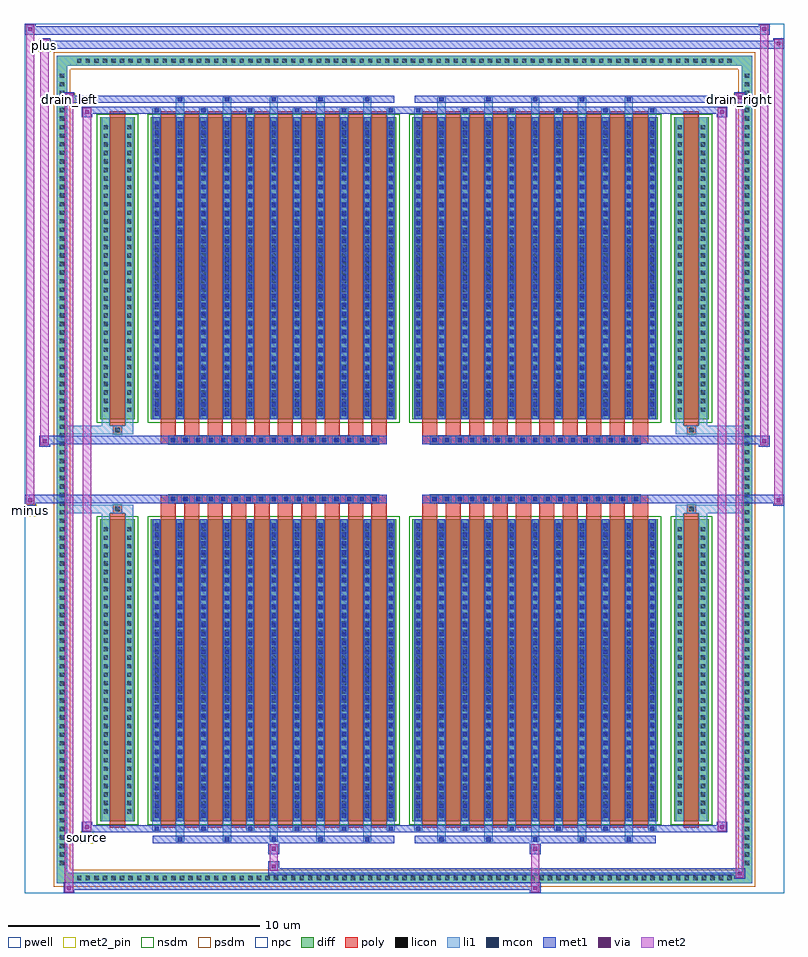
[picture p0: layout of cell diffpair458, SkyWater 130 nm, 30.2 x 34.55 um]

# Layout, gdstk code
import gdstk
lib = gdstk.Library(unit=1e-6, precision=5e-09)
def R(c, l, rs):  # rectangles x0, y0, x1, y1
    for r in rs: c.add(gdstk.rectangle(r[:2], r[2:], *l))
def A(c, l, x, y, w, h, nx, ny, dx, dy):  # array of equal rectangles
    R(c, l, [(x+i*dx, y+j*dy, x+i*dx+w, y+j*dy+h) for i in range(nx) for j in range(ny)])
def P(c, l, *ps):  # polygons
    for p in ps: c.add(gdstk.Polygon(p, *l))
pwell = (64, 44)
diff = (65, 20)
poly = (66, 20)
licon = (66, 44)
li1 = (67, 20)
mcon = (67, 44)
met1 = (68, 20)
via = (68, 44)
met2_pin = (69, 16)
met2 = (69, 20)
nsdm = (93, 44)
psdm = (94, 20)
npc = (95, 20)

diffpair458 = lib.new_cell('diffpair458')
R(diffpair458, pwell, [(-15.08,-16.84,15.08,17.71), (-12.4,-15.03,-0.01,-0.805), (0.01,-15.03,12.4,-0.805), (-12.4,0.805,-0.01,15.03), (0.01,0.805,12.4,15.03)])
A(diffpair458, diff, -13.125, -16.44, 0.41, 0.41, 77, 2, 0.34, 32.47)
A(diffpair458, diff, -13.81, -15.845, 0.41, 0.41, 1, 93, 0, 0.34)
A(diffpair458, diff, 13.4, -15.845, 0.41, 0.41, 1, 93, 0, 0.34)
R(diffpair458, diff, [(-13.125,-16.44,13.125,-16.03), (-13.81,-15.845,-13.4,15.845), (13.4,-15.845,13.81,15.845), (-12.09,-13.985,-10.71,-1.985), (-10.07,-13.985,-0.32,-1.985), (0.32,-13.985,10.07,-1.985), (10.71,-13.985,12.09,-1.985), (-12.09,1.985,-10.71,13.985), (-10.07,1.985,-0.32,13.985), (0.32,1.985,10.07,13.985), (10.71,1.985,12.09,13.985), (-13.125,16.03,13.125,16.44)])
P(diffpair458, diff, [(13.81,16.44),(-13.81,16.44),(-13.81,-16.03),(-13.4,-16.03),(-13.4,16.03),(13.4,16.03),(13.4,-16.03),(-13.4,-16.03),(-13.81,-16.03),(-13.81,-16.44),(13.81,-16.44)])
A(diffpair458, poly, -9.68, -14.235, 0.6, 12.5, 10, 2, 0.93, 15.97)
A(diffpair458, poly, 0.71, -14.235, 0.6, 12.5, 10, 2, 0.93, 15.97)
A(diffpair458, poly, -9.68, -1.735, 0.6, 0.4, 10, 2, 0.93, 3.07)
A(diffpair458, poly, 0.71, -1.735, 0.6, 0.4, 10, 2, 0.93, 3.07)
A(diffpair458, poly, -9.36, -1.335, 0.33, 0.33, 17, 2, 0.5, 2.34)
A(diffpair458, poly, 1.03, -1.335, 0.33, 0.33, 17, 2, 0.5, 2.34)
R(diffpair458, poly, [(-11.7,-14.235,-11.1,-1.735), (11.1,-14.235,11.7,-1.735), (-11.565,-1.735,-11.235,-1.405), (-11.565,-1.735,-11.235,-1.405), (11.235,-1.735,11.565,-1.405), (11.235,-1.735,11.565,-1.405), (-9.68,-1.335,-0.71,-1.005), (0.71,-1.335,9.68,-1.005), (-9.68,1.005,-0.71,1.335), (0.71,1.005,9.68,1.335), (-11.565,1.405,-11.235,1.735), (-11.565,1.405,-11.235,1.735), (11.235,1.405,11.565,1.735), (11.235,1.405,11.565,1.735), (-11.7,1.735,-11.1,14.235), (11.1,1.735,11.7,14.235)])
A(diffpair458, licon, -13.005, -16.32, 0.17, 0.17, 77, 2, 0.34, 32.47)
A(diffpair458, licon, -13.69, -15.725, 0.17, 0.17, 1, 93, 0, 0.34)
A(diffpair458, licon, 13.52, -15.725, 0.17, 0.17, 1, 93, 0, 0.34)
A(diffpair458, licon, -11.95, -13.68, 0.17, 0.17, 1, 34, 0, 0.34)
A(diffpair458, licon, -11.02, -13.68, 0.17, 0.17, 1, 34, 0, 0.34)
A(diffpair458, licon, -9.93, -13.68, 0.17, 0.17, 11, 34, 0.93, 0.34)
A(diffpair458, licon, 0.46, -13.68, 0.17, 0.17, 11, 34, 0.93, 0.34)
A(diffpair458, licon, 10.85, -13.68, 0.17, 0.17, 1, 34, 0, 0.34)
A(diffpair458, licon, 11.78, -13.68, 0.17, 0.17, 1, 34, 0, 0.34)
A(diffpair458, licon, -9.28, -1.255, 0.17, 0.17, 17, 2, 0.5, 2.34)
A(diffpair458, licon, 1.11, -1.255, 0.17, 0.17, 17, 2, 0.5, 2.34)
A(diffpair458, licon, -11.95, 2.29, 0.17, 0.17, 1, 34, 0, 0.34)
A(diffpair458, licon, -11.02, 2.29, 0.17, 0.17, 1, 34, 0, 0.34)
A(diffpair458, licon, -9.93, 2.29, 0.17, 0.17, 11, 34, 0.93, 0.34)
A(diffpair458, licon, 0.46, 2.29, 0.17, 0.17, 11, 34, 0.93, 0.34)
A(diffpair458, licon, 10.85, 2.29, 0.17, 0.17, 1, 34, 0, 0.34)
A(diffpair458, licon, 11.78, 2.29, 0.17, 0.17, 1, 34, 0, 0.34)
R(diffpair458, licon, [(-11.485,-1.655,-11.315,-1.485), (11.315,-1.655,11.485,-1.485), (-11.485,1.485,-11.315,1.655), (11.315,1.485,11.485,1.655)])
A(diffpair458, li1, -13.085, -16.4, 0.33, 0.33, 77, 2, 0.34, 32.47)
A(diffpair458, li1, -13.77, -15.805, 0.33, 0.33, 1, 93, 0, 0.34)
A(diffpair458, li1, 13.44, -15.805, 0.33, 0.33, 1, 93, 0, 0.34)
A(diffpair458, li1, -9.08, -14.79, 0.33, 0.805, 5, 2, 1.86, 28.775)
A(diffpair458, li1, -9, -14.79, 0.17, 0.17, 5, 2, 1.86, 29.41)
A(diffpair458, li1, 1.31, -14.79, 0.33, 0.805, 5, 2, 1.86, 28.775)
A(diffpair458, li1, 1.39, -14.79, 0.17, 0.17, 5, 2, 1.86, 29.41)
A(diffpair458, li1, -10.01, -14.36, 0.33, 0.375, 6, 2, 1.86, 28.345)
A(diffpair458, li1, -9.93, -14.36, 0.17, 0.17, 6, 2, 1.86, 28.55)
A(diffpair458, li1, 0.38, -14.36, 0.33, 0.375, 6, 2, 1.86, 28.345)
A(diffpair458, li1, 0.46, -14.36, 0.17, 0.17, 6, 2, 1.86, 28.55)
A(diffpair458, li1, -10.01, -13.985, 0.33, 12, 11, 2, 0.93, 15.97)
A(diffpair458, li1, 0.38, -13.985, 0.33, 12, 11, 2, 0.93, 15.97)
A(diffpair458, li1, -9.93, -13.83, 0.17, 0.17, 11, 33, 0.93, 0.36)
A(diffpair458, li1, -9.93, -13.83, 0.17, 11.69, 11, 2, 0.93, 15.97)
A(diffpair458, li1, 0.46, -13.83, 0.17, 0.17, 11, 33, 0.93, 0.36)
A(diffpair458, li1, 0.46, -13.83, 0.17, 11.69, 11, 2, 0.93, 15.97)
A(diffpair458, li1, -12.03, -13.76, 0.33, 0.33, 1, 34, 0, 0.34)
A(diffpair458, li1, -11.1, -13.76, 0.33, 0.33, 1, 34, 0, 0.34)
A(diffpair458, li1, -10.01, -13.76, 0.33, 0.33, 11, 34, 0.93, 0.34)
A(diffpair458, li1, 0.38, -13.76, 0.33, 0.33, 11, 34, 0.93, 0.34)
A(diffpair458, li1, 10.77, -13.76, 0.33, 0.33, 1, 34, 0, 0.34)
A(diffpair458, li1, 11.7, -13.76, 0.33, 0.33, 1, 34, 0, 0.34)
A(diffpair458, li1, -9.36, -1.335, 0.33, 0.33, 17, 2, 0.5, 2.34)
A(diffpair458, li1, 1.03, -1.335, 0.33, 0.33, 17, 2, 0.5, 2.34)
A(diffpair458, li1, -9.93, 2.14, 0.17, 0.17, 11, 33, 0.93, 0.36)
A(diffpair458, li1, 0.46, 2.14, 0.17, 0.17, 11, 33, 0.93, 0.36)
A(diffpair458, li1, -12.03, 2.21, 0.33, 0.33, 1, 34, 0, 0.34)
A(diffpair458, li1, -11.1, 2.21, 0.33, 0.33, 1, 34, 0, 0.34)
A(diffpair458, li1, -10.01, 2.21, 0.33, 0.33, 11, 34, 0.93, 0.34)
A(diffpair458, li1, 0.38, 2.21, 0.33, 0.33, 11, 34, 0.93, 0.34)
A(diffpair458, li1, 10.77, 2.21, 0.33, 0.33, 1, 34, 0, 0.34)
A(diffpair458, li1, 11.7, 2.21, 0.33, 0.33, 1, 34, 0, 0.34)
R(diffpair458, li1, [(-13.81,-16.44,-13.4,-16.03), (-13.81,-16.44,-13.4,-16.03), (-13.4,-16.44,13.4,-16.03), (13.4,-16.44,13.81,-16.03), (13.4,-16.44,13.81,-16.03), (-13.81,-16.03,-13.4,16.03), (13.4,-16.03,13.81,16.03), (-12.03,-13.985,-11.7,-1.985), (-11.1,-13.985,-10.77,-1.985), (10.77,-13.985,11.1,-1.985), (11.7,-13.985,12.03,-1.985), (-12.03,-1.985,-11.7,-1.405), (-11.1,-1.985,-10.77,-1.405), (10.77,-1.985,11.1,-1.405), (11.7,-1.985,12.03,-1.405), (-13.81,-1.735,-11.565,-1.405), (-12.03,-1.735,-11.565,-1.405), (-11.565,-1.735,-11.235,-1.405), (-11.235,-1.735,-10.77,-1.405), (10.77,-1.735,11.235,-1.405), (11.235,-1.735,11.565,-1.405), (11.235,-1.735,13.81,-1.405), (11.565,-1.735,12.03,-1.405), (-13.81,1.405,-11.565,1.735), (-12.03,1.405,-11.565,1.735), (-12.03,1.405,-11.7,1.985), (-11.565,1.405,-11.235,1.735), (-11.235,1.405,-10.77,1.735), (-11.1,1.405,-10.77,1.985), (10.77,1.405,11.235,1.735), (10.77,1.405,11.1,1.985), (11.235,1.405,11.565,1.735), (11.235,1.405,13.81,1.735), (11.565,1.405,12.03,1.735), (11.7,1.405,12.03,1.985), (-12.03,1.985,-11.7,13.985), (-11.1,1.985,-10.77,13.985), (10.77,1.985,11.1,13.985), (11.7,1.985,12.03,13.985), (-13.81,16.03,-13.4,16.44), (-13.81,16.03,-13.4,16.44), (-13.4,16.03,13.4,16.44), (13.4,16.03,13.81,16.44), (13.4,16.03,13.81,16.44)])
A(diffpair458, mcon, -9, -14.79, 0.17, 0.17, 5, 2, 1.86, 29.41)
A(diffpair458, mcon, 1.39, -14.79, 0.17, 0.17, 5, 2, 1.86, 29.41)
A(diffpair458, mcon, -9.93, -14.36, 0.17, 0.17, 6, 2, 1.86, 28.55)
A(diffpair458, mcon, 0.46, -14.36, 0.17, 0.17, 6, 2, 1.86, 28.55)
A(diffpair458, mcon, -9.93, -13.83, 0.17, 0.17, 11, 33, 0.93, 0.36)
A(diffpair458, mcon, 0.46, -13.83, 0.17, 0.17, 11, 33, 0.93, 0.36)
A(diffpair458, mcon, -9.28, -1.255, 0.17, 0.17, 17, 2, 0.5, 2.34)
A(diffpair458, mcon, 1.11, -1.255, 0.17, 0.17, 17, 2, 0.5, 2.34)
A(diffpair458, mcon, -9.93, 2.14, 0.17, 0.17, 11, 33, 0.93, 0.36)
A(diffpair458, mcon, 0.46, 2.14, 0.17, 0.17, 11, 33, 0.93, 0.36)
A(diffpair458, met1, -9.06, -14.85, 0.29, 0.29, 5, 2, 1.86, 29.41)
A(diffpair458, met1, 1.33, -14.85, 0.29, 0.29, 5, 2, 1.86, 29.41)
A(diffpair458, met1, -9.99, -14.42, 0.29, 0.29, 6, 2, 1.86, 28.55)
A(diffpair458, met1, 0.4, -14.42, 0.29, 0.29, 6, 2, 1.86, 28.55)
A(diffpair458, met1, -9.99, -13.985, 0.29, 12, 11, 2, 0.93, 15.97)
A(diffpair458, met1, 0.4, -13.985, 0.29, 12, 11, 2, 0.93, 15.97)
A(diffpair458, met1, -9.99, -13.89, 0.29, 0.29, 11, 33, 0.93, 0.36)
A(diffpair458, met1, 0.4, -13.89, 0.29, 0.29, 11, 33, 0.93, 0.36)
A(diffpair458, met1, -9.34, -1.315, 0.29, 0.29, 17, 2, 0.5, 2.34)
A(diffpair458, met1, 1.05, -1.315, 0.29, 0.29, 17, 2, 0.5, 2.34)
A(diffpair458, met1, -9.99, 2.08, 0.29, 0.29, 11, 33, 0.93, 0.36)
A(diffpair458, met1, 0.4, 2.08, 0.29, 0.29, 11, 33, 0.93, 0.36)
R(diffpair458, met1, [(-13.54,-16.84,-13.11,-16.41), (4.98,-16.84,5.41,-16.41), (-13.54,-16.7,5.41,-16.41), (13.11,-16.27,13.54,-15.84), (-5.41,-16.13,13.54,-15.84), (-5.41,-15.99,-4.98,-15.56), (-5.41,-15.28,-4.98,-14.85), (4.98,-15.28,5.41,-14.85), (-9.99,-14.85,-0.4,-14.56), (0.4,-14.85,9.99,-14.56), (-12.83,-14.42,-12.4,-13.99), (-12.83,-14.42,-9.99,-14.13), (-9.99,-14.42,-0.4,-14.13), (-0.4,-14.42,0.4,-14.13), (0.4,-14.42,9.99,-14.13), (9.99,-14.42,12.83,-14.13), (12.4,-14.42,12.83,-13.99), (-15.08,-1.435,-14.65,-1.005), (14.65,-1.435,15.08,-1.005), (-15.08,-1.335,-0.71,-1.005), (-9.68,-1.335,-0.71,-1.005), (0.71,-1.335,9.68,-1.005), (0.71,-1.335,15.08,-1.005), (-14.51,0.905,-14.08,1.335), (14.08,0.905,14.51,1.335), (-14.51,1.005,-9.68,1.335), (-9.68,1.005,-0.71,1.335), (0.71,1.005,9.68,1.335), (9.68,1.005,14.51,1.335), (-12.83,13.99,-12.4,14.42), (12.4,13.99,12.83,14.42), (-12.83,14.13,-9.99,14.42), (-9.99,14.13,-0.4,14.42), (-0.4,14.13,0.4,14.42), (0.4,14.13,9.99,14.42), (9.99,14.13,12.83,14.42), (-13.54,14.56,-13.11,14.99), (-13.54,14.56,-9.99,14.85), (-9.99,14.56,-0.4,14.85), (0.4,14.56,9.99,14.85), (9.99,14.56,13.54,14.85), (13.11,14.56,13.54,14.99), (-14.51,16.71,-14.08,17.14), (-14.51,16.71,-12.4,17.04), (-12.4,16.71,12.4,17.04), (12.4,16.71,15.08,17.04), (14.65,16.71,15.08,17.14), (-15.08,17.28,-14.65,17.71), (-15.08,17.28,-12.4,17.61), (-12.4,17.28,12.4,17.61), (12.4,17.28,14.51,17.61), (14.08,17.28,14.51,17.71)])
R(diffpair458, via, [(-13.4,-16.7,-13.25,-16.55), (5.12,-16.7,5.27,-16.55), (13.25,-16.13,13.4,-15.98), (-5.27,-15.85,-5.12,-15.7), (-5.27,-15.14,-5.12,-14.99), (5.12,-15.14,5.27,-14.99), (-12.69,-14.28,-12.54,-14.13), (12.54,-14.28,12.69,-14.13), (-14.94,-1.295,-14.79,-1.145), (14.79,-1.295,14.94,-1.145), (-14.37,1.045,-14.22,1.195), (14.22,1.045,14.37,1.195), (-12.69,14.13,-12.54,14.28), (12.54,14.13,12.69,14.28), (-13.4,14.7,-13.25,14.85), (13.25,14.7,13.4,14.85), (-14.37,16.85,-14.22,17), (14.79,16.85,14.94,17), (-14.94,17.42,-14.79,17.57), (14.22,17.42,14.37,17.57)])
R(diffpair458, met2_pin, [(-12.865,-14.87,-12.365,-14.37), (-15.115,-1.885,-14.615,-1.385), (-13.575,14.44,-13.075,14.94), (13.075,14.44,13.575,14.94), (-14.545,16.59,-14.045,17.09)])
R(diffpair458, met2, [(-13.49,-16.79,-13.16,-16.46), (-13.49,-16.79,-13.16,14.94), (5.03,-16.79,5.36,-16.46), (5.03,-16.46,5.36,-15.23), (13.16,-16.22,13.49,-15.89), (13.16,-16.22,13.49,14.94), (-5.36,-15.94,-5.03,-15.61), (-5.36,-15.61,-5.03,-15.23), (-5.36,-15.23,-5.03,-14.9), (5.03,-15.23,5.36,-14.9), (-12.78,-14.37,-12.45,-14.04), (-12.78,-14.37,-12.45,14.37), (12.45,-14.37,12.78,-14.04), (12.45,-14.37,12.78,14.37), (-15.03,-1.385,-14.7,-1.055), (-15.03,-1.385,-14.7,17.66), (14.7,-1.385,15.03,-1.055), (14.7,-1.385,15.03,17.09), (-14.46,0.955,-14.13,1.285), (-14.46,0.955,-14.13,17.09), (14.13,0.955,14.46,1.285), (14.13,0.955,14.46,17.66), (-12.78,14.04,-12.45,14.37), (12.45,14.04,12.78,14.37), (-13.49,14.61,-13.16,14.94), (13.16,14.61,13.49,14.94), (-14.46,16.76,-14.13,17.09), (14.7,16.76,15.03,17.09), (-15.03,17.33,-14.7,17.66), (14.13,17.33,14.46,17.66)])
P(diffpair458, met2, [(15.03,-1.385),(15.03,-1.385),(15.03,-1.055),(15.03,-1.055)],
  [(15.03,16.76),(15.03,16.76),(15.03,17.09),(15.03,17.09)],
  [(-14.7,-1.385),(-14.7,-1.385),(-14.7,-1.055),(-14.7,-1.055)],
  [(-14.7,17.33),(-14.7,17.33),(-14.7,17.66),(-14.7,17.66)],
  [(14.46,0.955),(14.46,0.955),(14.46,1.285),(14.46,1.285)],
  [(14.46,17.33),(14.46,17.33),(14.46,17.66),(14.46,17.66)],
  [(-14.13,0.955),(-14.13,0.955),(-14.13,1.285),(-14.13,1.285)],
  [(-14.13,16.76),(-14.13,16.76),(-14.13,17.09),(-14.13,17.09)],
  [(-13.16,-16.79),(-13.16,-16.79),(-13.16,-16.46),(-13.16,-16.46)],
  [(-13.16,14.61),(-13.16,14.61),(-13.16,14.94),(-13.16,14.94)],
  [(13.49,-16.22),(13.49,-16.22),(13.49,-15.89),(13.49,-15.89)],
  [(13.49,14.61),(13.49,14.61),(13.49,14.94),(13.49,14.94)],
  [(-12.45,-14.37),(-12.45,-14.37),(-12.45,-14.04),(-12.45,-14.04)],
  [(-12.45,14.04),(-12.45,14.04),(-12.45,14.37),(-12.45,14.37)],
  [(12.78,-14.37),(12.78,-14.37),(12.78,-14.04),(12.78,-14.04)],
  [(12.78,14.04),(12.78,14.04),(12.78,14.37),(12.78,14.37)])
R(diffpair458, nsdm, [(-12.22,-14.115,-10.58,-1.855), (-10.2,-14.115,-0.19,-1.855), (0.19,-14.115,10.2,-1.855), (10.58,-14.115,12.22,-1.855), (-12.22,1.855,-10.58,14.115), (-10.2,1.855,-0.19,14.115), (0.19,1.855,10.2,14.115), (10.58,1.855,12.22,14.115)])
P(diffpair458, psdm, [(13.94,16.57),(-13.94,16.57),(-13.94,-15.9),(-13.27,-15.9),(-13.27,15.9),(13.27,15.9),(13.27,-15.9),(-13.27,-15.9),(-13.94,-15.9),(-13.94,-16.57),(13.94,-16.57)])
A(diffpair458, npc, -9.38, -1.355, 0.37, 0.37, 17, 2, 0.5, 2.34)
A(diffpair458, npc, 1.01, -1.355, 0.37, 0.37, 17, 2, 0.5, 2.34)
R(diffpair458, npc, [(-11.585,-1.755,-11.215,-1.385), (11.215,-1.755,11.585,-1.385), (-9.38,-1.355,-8.51,-0.985), (-9.38,-1.355,-8.51,-0.985), (-8.88,-1.355,-8.01,-0.985), (-8.88,-1.355,-8.01,-0.985), (-8.38,-1.355,-7.51,-0.985), (-8.38,-1.355,-7.51,-0.985), (-7.88,-1.355,-7.01,-0.985), (-7.88,-1.355,-7.01,-0.985), (-7.38,-1.355,-6.51,-0.985), (-7.38,-1.355,-6.51,-0.985), (-6.88,-1.355,-6.01,-0.985), (-6.88,-1.355,-6.01,-0.985), (-6.38,-1.355,-5.51,-0.985), (-6.38,-1.355,-5.51,-0.985), (-5.88,-1.355,-5.01,-0.985), (-5.88,-1.355,-5.01,-0.985), (-5.38,-1.355,-4.51,-0.985), (-5.38,-1.355,-4.51,-0.985), (-4.88,-1.355,-4.01,-0.985), (-4.88,-1.355,-4.01,-0.985), (-4.38,-1.355,-3.51,-0.985), (-4.38,-1.355,-3.51,-0.985), (-3.88,-1.355,-3.01,-0.985), (-3.88,-1.355,-3.01,-0.985), (-3.38,-1.355,-2.51,-0.985), (-3.38,-1.355,-2.51,-0.985), (-2.88,-1.355,-2.01,-0.985), (-2.88,-1.355,-2.01,-0.985), (-2.38,-1.355,-1.51,-0.985), (-2.38,-1.355,-1.51,-0.985), (-1.88,-1.355,-1.01,-0.985), (-1.88,-1.355,-1.01,-0.985), (1.01,-1.355,1.88,-0.985), (1.01,-1.355,1.88,-0.985), (1.51,-1.355,2.38,-0.985), (1.51,-1.355,2.38,-0.985), (2.01,-1.355,2.88,-0.985), (2.01,-1.355,2.88,-0.985), (2.51,-1.355,3.38,-0.985), (2.51,-1.355,3.38,-0.985), (3.01,-1.355,3.88,-0.985), (3.01,-1.355,3.88,-0.985), (3.51,-1.355,4.38,-0.985), (3.51,-1.355,4.38,-0.985), (4.01,-1.355,4.88,-0.985), (4.01,-1.355,4.88,-0.985), (4.51,-1.355,5.38,-0.985), (4.51,-1.355,5.38,-0.985), (5.01,-1.355,5.88,-0.985), (5.01,-1.355,5.88,-0.985), (5.51,-1.355,6.38,-0.985), (5.51,-1.355,6.38,-0.985), (6.01,-1.355,6.88,-0.985), (6.01,-1.355,6.88,-0.985), (6.51,-1.355,7.38,-0.985), (6.51,-1.355,7.38,-0.985), (7.01,-1.355,7.88,-0.985), (7.01,-1.355,7.88,-0.985), (7.51,-1.355,8.38,-0.985), (7.51,-1.355,8.38,-0.985), (8.01,-1.355,8.88,-0.985), (8.01,-1.355,8.88,-0.985), (8.51,-1.355,9.38,-0.985), (8.51,-1.355,9.38,-0.985), (-9.38,0.985,-8.51,1.355), (-9.38,0.985,-8.51,1.355), (-8.88,0.985,-8.01,1.355), (-8.88,0.985,-8.01,1.355), (-8.38,0.985,-7.51,1.355), (-8.38,0.985,-7.51,1.355), (-7.88,0.985,-7.01,1.355), (-7.88,0.985,-7.01,1.355), (-7.38,0.985,-6.51,1.355), (-7.38,0.985,-6.51,1.355), (-6.88,0.985,-6.01,1.355), (-6.88,0.985,-6.01,1.355), (-6.38,0.985,-5.51,1.355), (-6.38,0.985,-5.51,1.355), (-5.88,0.985,-5.01,1.355), (-5.88,0.985,-5.01,1.355), (-5.38,0.985,-4.51,1.355), (-5.38,0.985,-4.51,1.355), (-4.88,0.985,-4.01,1.355), (-4.88,0.985,-4.01,1.355), (-4.38,0.985,-3.51,1.355), (-4.38,0.985,-3.51,1.355), (-3.88,0.985,-3.01,1.355), (-3.88,0.985,-3.01,1.355), (-3.38,0.985,-2.51,1.355), (-3.38,0.985,-2.51,1.355), (-2.88,0.985,-2.01,1.355), (-2.88,0.985,-2.01,1.355), (-2.38,0.985,-1.51,1.355), (-2.38,0.985,-1.51,1.355), (-1.88,0.985,-1.01,1.355), (-1.88,0.985,-1.01,1.355), (1.01,0.985,1.88,1.355), (1.01,0.985,1.88,1.355), (1.51,0.985,2.38,1.355), (1.51,0.985,2.38,1.355), (2.01,0.985,2.88,1.355), (2.01,0.985,2.88,1.355), (2.51,0.985,3.38,1.355), (2.51,0.985,3.38,1.355), (3.01,0.985,3.88,1.355), (3.01,0.985,3.88,1.355), (3.51,0.985,4.38,1.355), (3.51,0.985,4.38,1.355), (4.01,0.985,4.88,1.355), (4.01,0.985,4.88,1.355), (4.51,0.985,5.38,1.355), (4.51,0.985,5.38,1.355), (5.01,0.985,5.88,1.355), (5.01,0.985,5.88,1.355), (5.51,0.985,6.38,1.355), (5.51,0.985,6.38,1.355), (6.01,0.985,6.88,1.355), (6.01,0.985,6.88,1.355), (6.51,0.985,7.38,1.355), (6.51,0.985,7.38,1.355), (7.01,0.985,7.88,1.355), (7.01,0.985,7.88,1.355), (7.51,0.985,8.38,1.355), (7.51,0.985,8.38,1.355), (8.01,0.985,8.88,1.355), (8.01,0.985,8.88,1.355), (8.51,0.985,9.38,1.355), (8.51,0.985,9.38,1.355), (-11.585,1.385,-11.215,1.755), (11.215,1.385,11.585,1.755)])
diffpair458.add(gdstk.Label('minus', (-14.865,-1.635), layer=69, texttype=5))
diffpair458.add(gdstk.Label('drain_right', (13.325,14.69), layer=69, texttype=5))
diffpair458.add(gdstk.Label('drain_left', (-13.325,14.69), layer=69, texttype=5))
diffpair458.add(gdstk.Label('source', (-12.615,-14.62), layer=69, texttype=5))
diffpair458.add(gdstk.Label('plus', (-14.295,16.84), layer=69, texttype=5))

lib.write_gds('diffpair458.gds')
